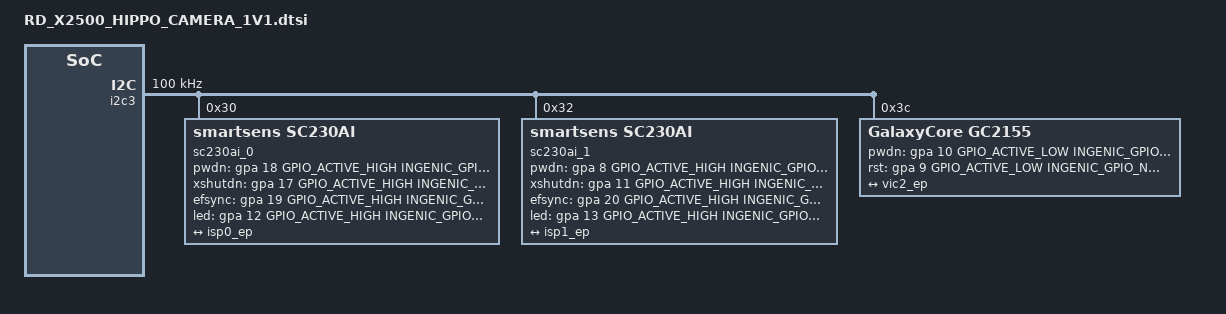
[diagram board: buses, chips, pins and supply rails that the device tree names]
&i2c3 {
	status = "okay";
	clock-frequency = <100000>;
	timeout = <1000>;
	pinctrl-names = "default";
	pinctrl-0 = <&i2c3_pa>;

	sc230ai_0:sc230ai@0x30 {
		status = "ok";
		compatible = "smartsens,sc230ai";
		reg = <0x30>;
		pinctrl-names = "default";
		pinctrl-0 = <&cim1_vic_mclk_pc>;

		ingenic,mclk = <1>;
		ingenic,pwdn-gpio = <&gpa 18 GPIO_ACTIVE_HIGH INGENIC_GPIO_NOBIAS>;
		ingenic,xshutdn-gpio = <&gpa 17 GPIO_ACTIVE_HIGH INGENIC_GPIO_NOBIAS>;
		ingenic,efsync-gpio = <&gpa 19 GPIO_ACTIVE_HIGH INGENIC_GPIO_NOBIAS>;
		ingenic,led-gpio = <&gpa 12 GPIO_ACTIVE_HIGH INGENIC_GPIO_NOBIAS>;

		port {
			sc230ai_ep0:endpoint {
				remote-endpoint = <&isp0_ep>;
			};
		};
	};

	sc230ai_1:sc230ai@0x32 {
		status = "ok";
		compatible = "smartsens,sc230ai";
		reg = <0x32>;
		pinctrl-names = "default";
		pinctrl-0 = <&cim0_vic_mclk_pc>;

		ingenic,mclk = <0>;
		ingenic,pwdn-gpio = <&gpa 8 GPIO_ACTIVE_HIGH INGENIC_GPIO_NOBIAS>;
		ingenic,xshutdn-gpio = <&gpa 11 GPIO_ACTIVE_HIGH INGENIC_GPIO_NOBIAS>;
		ingenic,efsync-gpio = <&gpa 20 GPIO_ACTIVE_HIGH INGENIC_GPIO_NOBIAS>;
		ingenic,led-gpio = <&gpa 13 GPIO_ACTIVE_HIGH INGENIC_GPIO_NOBIAS>;

		port {
			sc230ai_ep1:endpoint {
				remote-endpoint = <&isp1_ep>;
			};
		};
	};

	gc2155: gc2155@0x3c {
		status = "ok";
		compatible = "GalaxyCore,gc2155";
		reg = <0x3c>;
		pinctrl-names = "default", "default";

		pinctrl-0 = <&cim2_vic_mclk_pc>;
		pinctrl-1 = <&vic_pa_low_8bit>;

		ingenic,mclk = <2>;

		ingenic,pwdn-gpio = <&gpa 10 GPIO_ACTIVE_LOW INGENIC_GPIO_NOBIAS>;
		ingenic,rst-gpio = <&gpa 9 GPIO_ACTIVE_LOW INGENIC_GPIO_NOBIAS>;

		port {
			gc2155_0: endpoint {
				remote-endpoint = <&vic2_ep>;
				bus-width = <8>;	/* Used data lines */
				data-shift = <0>;	/* Lines 9:0 are used */
				/* If hsync-active/vsync-active are missing,
				   embedded BT.656 sync is used */
				hsync-active = <1>;	/* Active high */
				vsync-active = <0>;	/* Active high */
				data-active = <1>;	/* Active high */
				pclk-sample = <1>;	/* Rising */
			};
		};
	};
};

&isp0_ep {
	remote-endpoint = <&sc230ai_ep0>;
	data-lanes = <0 1>;
	clk-lanes = <2>;
};

&isp1_ep {
	remote-endpoint = <&sc230ai_ep1>;
	data-lanes = <3 4>;
	clk-lanes = <5>;
};

&vic2_ep{
	remote-endpoint = <&gc2155_0>;
	bus-width = <8>;	/* Used data lines */
	data-shift = <0>;	/* Lines 9:0 are used */
	hsync-active = <1>;	/* Active high */
	vsync-active = <0>;	/* Active low */
	data-active = <1>;	/* Active high */
	pclk-sample = <1>;	/* Rising */
};
